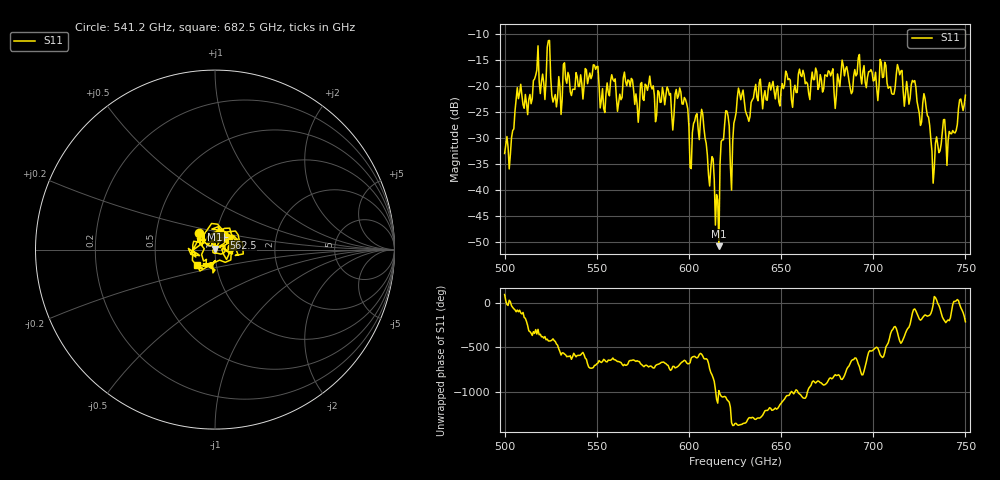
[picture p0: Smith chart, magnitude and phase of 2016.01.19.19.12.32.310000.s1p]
!Created with skrf (http://scikit-rf.org).
# GHz S RI R 50.0
!freq ReS11 ImS11
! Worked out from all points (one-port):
!   401 points, 500 GHz to 750 GHz, reference 50 ohm
!   lowest |S11| = -50.7 dB at 616.2 GHz (marker M1), VSWR 1.01, Z = 50 + j0.291 ohm
!   |S11| at or under -10 dB: start of sweep to end of sweep
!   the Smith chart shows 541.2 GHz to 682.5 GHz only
!   S11 on the Smith chart (normalised r, x): 541.2 GHz: 0.83, +0.16; 562.5 GHz: 1.09, +0.15; 682.5 GHz: 0.81, -0.14
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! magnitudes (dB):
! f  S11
! 500 GHz  -33.0
! 507.5 GHz  -22.4
! 516.9 GHz  -18.0
! 531.2 GHz  -22.5
! 541.2 GHz  -17.9
! 549.4 GHz  -16.8
! 553.1 GHz  -20.5
! 558.8 GHz  -18.8
! 562.5 GHz  -21.6
! 593.8 GHz  -22.4
! 601.2 GHz  -35.9
! 607.5 GHz  -25.4
! 615 GHz  -40.8
! 616.2 GHz  -50.7
! 619.4 GHz  -27.4
! 623.1 GHz  -40.0
! 625 GHz  -26.3
! 628.1 GHz  -22.7
! 631.9 GHz  -26.0
! 637.5 GHz  -22.9
! 656.2 GHz  -24.1
! 682.5 GHz  -17.5
! 687.5 GHz  -20.4
! 714.4 GHz  -17.9
! 718.8 GHz  -21.0
! 728.8 GHz  -24.3
! 732.5 GHz  -38.6
! 750 GHz  -21.8
